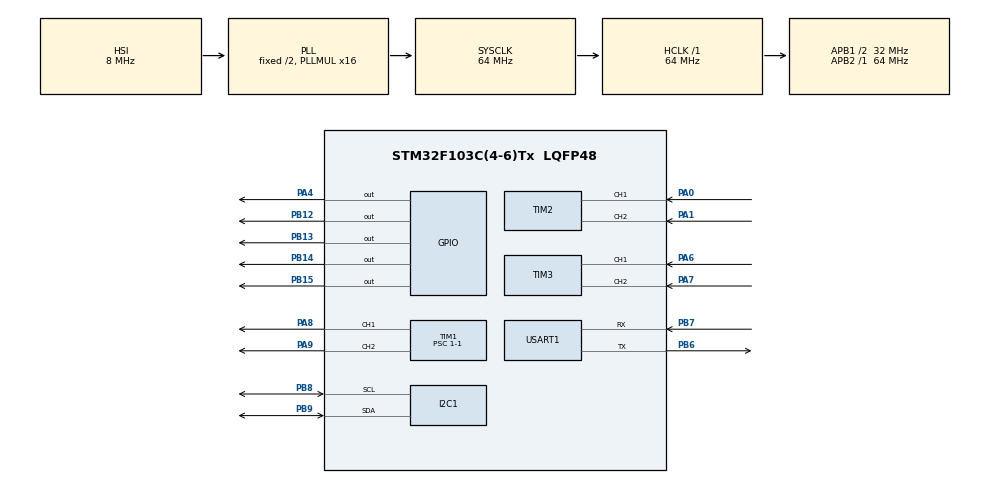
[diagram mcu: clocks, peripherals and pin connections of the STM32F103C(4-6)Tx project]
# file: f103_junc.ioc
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FREERTOS.Tasks01=defaultTask,24,128,StartDefaultTask,Default,NULL,Dynamic,NULL,NULL;updIncl,48,128,updateIncl,Default,NULL,Dynamic,NULL,NULL;motorCtrl,48,128,motorControl,Default,NULL,Dynamic,NULL,NULL
Mcu.Family=STM32F1
Mcu.Name=STM32F103C(4-6)Tx
Mcu.Package=LQFP48
NVIC.PriorityGroup=NVIC_PRIORITYGROUP_4
PA0-WKUP.Signal=S_TIM2_CH1_ETR
PA1.Signal=S_TIM2_CH2
PA13.Mode=Serial_Wire
PA13.Signal=SYS_JTMS-SWDIO
PA14.Mode=Serial_Wire
PA14.Signal=SYS_JTCK-SWCLK
PA4.Signal=GPIO_Output
PA6.Signal=S_TIM3_CH1
PA7.Signal=S_TIM3_CH2
PA8.Signal=S_TIM1_CH1
PA9.Signal=S_TIM1_CH2
PB12.Signal=GPIO_Output
PB13.Signal=GPIO_Output
PB14.Signal=GPIO_Output
PB15.Signal=GPIO_Output
PB6.Mode=Asynchronous
PB6.Signal=USART1_TX
PB7.Mode=Asynchronous
PB7.Signal=USART1_RX
PB8.Mode=I2C
PB8.Signal=I2C1_SCL
PB9.Mode=I2C
PB9.Signal=I2C1_SDA
ProjectManager.HeapSize=0x200
ProjectManager.StackSize=0x400
ProjectManager.TargetToolchain=CMake
RCC.AHBFreq_Value=64000000
RCC.APB1CLKDivider=RCC_HCLK_DIV2
RCC.APB1Freq_Value=32000000
RCC.APB1TimFreq_Value=64000000
RCC.APB2Freq_Value=64000000
RCC.APB2TimFreq_Value=64000000
RCC.HCLKFreq_Value=64000000
RCC.PLLMUL=RCC_PLL_MUL16
RCC.SYSCLKFreq_VALUE=64000000
RCC.SYSCLKSource=RCC_SYSCLKSOURCE_PLLCLK
RCC.USBFreq_Value=64000000
SH.S_TIM1_CH1.0=TIM1_CH1,PWM Generation1 CH1
SH.S_TIM1_CH2.0=TIM1_CH2,PWM Generation2 CH2
SH.S_TIM2_CH1_ETR.0=TIM2_CH1,Encoder_Interface
SH.S_TIM2_CH2.0=TIM2_CH2,Encoder_Interface
SH.S_TIM3_CH1.0=TIM3_CH1,Encoder_Interface
SH.S_TIM3_CH2.0=TIM3_CH2,Encoder_Interface
TIM1.Channel-PWM\ Generation1\ CH1=TIM_CHANNEL_1
TIM1.Channel-PWM\ Generation2\ CH2=TIM_CHANNEL_2
TIM1.Period=3200-1
TIM1.Prescaler=1-1
TIM2.EncoderMode=TIM_ENCODERMODE_TI12
TIM2.IC1Filter=12
TIM3.EncoderMode=TIM_ENCODERMODE_TI12
TIM3.IC1Filter=12
USART1.VirtualMode=VM_ASYNC
VP_FREERTOS_VS_CMSIS_V2.Mode=CMSIS_V2
VP_TIM1_VS_ClockSourceINT.Mode=Internal
board=custom

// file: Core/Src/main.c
/* USER CODE BEGIN Header */
/**
  ******************************************************************************
  * @file           : main.c
  * @brief          : Main program body
  ******************************************************************************
  * @attention
  *
  * Copyright (c) 2026 STMicroelectronics.
  * All rights reserved.
  *
  * This software is licensed under terms that can be found in the LICENSE file
  * in the root directory of this software component.
  * If no LICENSE file comes with this software, it is provided AS-IS.
  *
  ******************************************************************************
  */
/* USER CODE END Header */
#include "main.h"
#include "cmsis_os.h"

/* USER CODE BEGIN Includes */
#include <stdint.h>
#include <string.h>
/* USER CODE END Includes */

I2C_HandleTypeDef hi2c1;

TIM_HandleTypeDef htim1;
TIM_HandleTypeDef htim2;
TIM_HandleTypeDef htim3;

UART_HandleTypeDef huart1;

/* Definitions for defaultTask */
osThreadId_t defaultTaskHandle;
const osThreadAttr_t defaultTask_attributes = {
  .name = "defaultTask",
  .stack_size = 128 * 4,
  .priority = (osPriority_t) osPriorityNormal,
};
/* Definitions for updIncl */
osThreadId_t updInclHandle;
const osThreadAttr_t updIncl_attributes = {
  .name = "updIncl",
  .stack_size = 128 * 4,
  .priority = (osPriority_t) osPriorityRealtime,
};
/* Definitions for motorCtrl */
osThreadId_t motorCtrlHandle;
const osThreadAttr_t motorCtrl_attributes = {
  .name = "motorCtrl",
  .stack_size = 128 * 4,
  .priority = (osPriority_t) osPriorityRealtime,
};

void SystemClock_Config(void);
static void MX_GPIO_Init(void);
static void MX_I2C1_Init(void);
static void MX_USART1_UART_Init(void);
static void MX_TIM1_Init(void);
static void MX_TIM2_Init(void);
static void MX_TIM3_Init(void);
void StartDefaultTask(void *argument);
void updateIncl(void *argument);
void motorControl(void *argument);

int main(void)
{

  /* MCU Configuration--------------------------------------------------------*/

  /* Reset of all peripherals, Initializes the Flash interface and the Systick. */
  HAL_Init();

  /* Configure the system clock */
  SystemClock_Config();

  /* Initialize all configured peripherals */
  MX_GPIO_Init();
  MX_I2C1_Init();
  MX_USART1_UART_Init();
  MX_TIM1_Init();
  MX_TIM2_Init();
  MX_TIM3_Init();

  /* Init scheduler */
  osKernelInitialize();

  /* Create the thread(s) */
  /* creation of defaultTask */
  defaultTaskHandle = osThreadNew(StartDefaultTask, NULL, &defaultTask_attributes);

  /* creation of updIncl */
  updInclHandle = osThreadNew(updateIncl, NULL, &updIncl_attributes);

  /* creation of motorCtrl */
  motorCtrlHandle = osThreadNew(motorControl, NULL, &motorCtrl_attributes);

  /* Start scheduler */
  osKernelStart();

  /* We should never get here as control is now taken by the scheduler */

  /* Infinite loop */
  while (1)
  {

  }
}

void SystemClock_Config(void)
{
  RCC_OscInitTypeDef RCC_OscInitStruct = {0};
  RCC_ClkInitTypeDef RCC_ClkInitStruct = {0};

  /** Initializes the RCC Oscillators according to the specified parameters
  * in the RCC_OscInitTypeDef structure.
  */
  RCC_OscInitStruct.OscillatorType = RCC_OSCILLATORTYPE_HSI;
  RCC_OscInitStruct.HSIState = RCC_HSI_ON;
  RCC_OscInitStruct.HSICalibrationValue = RCC_HSICALIBRATION_DEFAULT;
  RCC_OscInitStruct.PLL.PLLState = RCC_PLL_ON;
  RCC_OscInitStruct.PLL.PLLSource = RCC_PLLSOURCE_HSI_DIV2;
  RCC_OscInitStruct.PLL.PLLMUL = RCC_PLL_MUL16;
  if (HAL_RCC_OscConfig(&RCC_OscInitStruct) != HAL_OK)
  {
    Error_Handler();
  }

  /** Initializes the CPU, AHB and APB buses clocks
  */
  RCC_ClkInitStruct.ClockType = RCC_CLOCKTYPE_HCLK|RCC_CLOCKTYPE_SYSCLK
                              |RCC_CLOCKTYPE_PCLK1|RCC_CLOCKTYPE_PCLK2;
  RCC_ClkInitStruct.SYSCLKSource = RCC_SYSCLKSOURCE_PLLCLK;
  RCC_ClkInitStruct.AHBCLKDivider = RCC_SYSCLK_DIV1;
  RCC_ClkInitStruct.APB1CLKDivider = RCC_HCLK_DIV2;
  RCC_ClkInitStruct.APB2CLKDivider = RCC_HCLK_DIV1;

  if (HAL_RCC_ClockConfig(&RCC_ClkInitStruct, FLASH_LATENCY_2) != HAL_OK)
  {
    Error_Handler();
  }
}

static void MX_I2C1_Init(void)
{

  hi2c1.Instance = I2C1;
  hi2c1.Init.ClockSpeed = 100000;
  hi2c1.Init.DutyCycle = I2C_DUTYCYCLE_2;
  hi2c1.Init.OwnAddress1 = 0;
  hi2c1.Init.AddressingMode = I2C_ADDRESSINGMODE_7BIT;
  hi2c1.Init.DualAddressMode = I2C_DUALADDRESS_DISABLE;
  hi2c1.Init.OwnAddress2 = 0;
  hi2c1.Init.GeneralCallMode = I2C_GENERALCALL_DISABLE;
  hi2c1.Init.NoStretchMode = I2C_NOSTRETCH_DISABLE;
  if (HAL_I2C_Init(&hi2c1) != HAL_OK)
  {
    Error_Handler();
  }

}

static void MX_TIM1_Init(void)
{

  TIM_ClockConfigTypeDef sClockSourceConfig = {0};
  TIM_MasterConfigTypeDef sMasterConfig = {0};
  TIM_OC_InitTypeDef sConfigOC = {0};
  TIM_BreakDeadTimeConfigTypeDef sBreakDeadTimeConfig = {0};

  htim1.Instance = TIM1;
  htim1.Init.Prescaler = 1-1;
  htim1.Init.CounterMode = TIM_COUNTERMODE_UP;
  htim1.Init.Period = 3200-1;
  htim1.Init.ClockDivision = TIM_CLOCKDIVISION_DIV1;
  htim1.Init.RepetitionCounter = 0;
  htim1.Init.AutoReloadPreload = TIM_AUTORELOAD_PRELOAD_DISABLE;
  if (HAL_TIM_Base_Init(&htim1) != HAL_OK)
  {
    Error_Handler();
  }
  sClockSourceConfig.ClockSource = TIM_CLOCKSOURCE_INTERNAL;
  if (HAL_TIM_ConfigClockSource(&htim1, &sClockSourceConfig) != HAL_OK)
  {
    Error_Handler();
  }
  if (HAL_TIM_PWM_Init(&htim1) != HAL_OK)
  {
    Error_Handler();
  }
  sMasterConfig.MasterOutputTrigger = TIM_TRGO_RESET;
  sMasterConfig.MasterSlaveMode = TIM_MASTERSLAVEMODE_DISABLE;
  if (HAL_TIMEx_MasterConfigSynchronization(&htim1, &sMasterConfig) != HAL_OK)
  {
    Error_Handler();
  }
  sConfigOC.OCMode = TIM_OCMODE_PWM1;
  sConfigOC.Pulse = 0;
  sConfigOC.OCPolarity = TIM_OCPOLARITY_HIGH;
  sConfigOC.OCNPolarity = TIM_OCNPOLARITY_HIGH;
  sConfigOC.OCFastMode = TIM_OCFAST_DISABLE;
  sConfigOC.OCIdleState = TIM_OCIDLESTATE_RESET;
  sConfigOC.OCNIdleState = TIM_OCNIDLESTATE_RESET;
  if (HAL_TIM_PWM_ConfigChannel(&htim1, &sConfigOC, TIM_CHANNEL_1) != HAL_OK)
  {
    Error_Handler();
  }
  if (HAL_TIM_PWM_ConfigChannel(&htim1, &sConfigOC, TIM_CHANNEL_2) != HAL_OK)
  {
    Error_Handler();
  }
  sBreakDeadTimeConfig.OffStateRunMode = TIM_OSSR_DISABLE;
  sBreakDeadTimeConfig.OffStateIDLEMode = TIM_OSSI_DISABLE;
  sBreakDeadTimeConfig.LockLevel = TIM_LOCKLEVEL_OFF;
  sBreakDeadTimeConfig.DeadTime = 0;
  sBreakDeadTimeConfig.BreakState = TIM_BREAK_DISABLE;
  sBreakDeadTimeConfig.BreakPolarity = TIM_BREAKPOLARITY_HIGH;
  sBreakDeadTimeConfig.AutomaticOutput = TIM_AUTOMATICOUTPUT_DISABLE;
  if (HAL_TIMEx_ConfigBreakDeadTime(&htim1, &sBreakDeadTimeConfig) != HAL_OK)
  {
    Error_Handler();
  }
  HAL_TIM_MspPostInit(&htim1);

}

static void MX_TIM2_Init(void)
{

  TIM_Encoder_InitTypeDef sConfig = {0};
  TIM_MasterConfigTypeDef sMasterConfig = {0};

  htim2.Instance = TIM2;
  htim2.Init.Prescaler = 0;
  htim2.Init.CounterMode = TIM_COUNTERMODE_UP;
  htim2.Init.Period = 65535;
  htim2.Init.ClockDivision = TIM_CLOCKDIVISION_DIV1;
  htim2.Init.AutoReloadPreload = TIM_AUTORELOAD_PRELOAD_DISABLE;
  sConfig.EncoderMode = TIM_ENCODERMODE_TI12;
  sConfig.IC1Polarity = TIM_ICPOLARITY_RISING;
  sConfig.IC1Selection = TIM_ICSELECTION_DIRECTTI;
  sConfig.IC1Prescaler = TIM_ICPSC_DIV1;
  sConfig.IC1Filter = 12;
  sConfig.IC2Polarity = TIM_ICPOLARITY_RISING;
  sConfig.IC2Selection = TIM_ICSELECTION_DIRECTTI;
  sConfig.IC2Prescaler = TIM_ICPSC_DIV1;
  sConfig.IC2Filter = 0;
  if (HAL_TIM_Encoder_Init(&htim2, &sConfig) != HAL_OK)
  {
    Error_Handler();
  }
  sMasterConfig.MasterOutputTrigger = TIM_TRGO_RESET;
  sMasterConfig.MasterSlaveMode = TIM_MASTERSLAVEMODE_DISABLE;
  if (HAL_TIMEx_MasterConfigSynchronization(&htim2, &sMasterConfig) != HAL_OK)
  {
    Error_Handler();
  }

}

static void MX_TIM3_Init(void)
{

  TIM_Encoder_InitTypeDef sConfig = {0};
  TIM_MasterConfigTypeDef sMasterConfig = {0};

  htim3.Instance = TIM3;
  htim3.Init.Prescaler = 0;
  htim3.Init.CounterMode = TIM_COUNTERMODE_UP;
  htim3.Init.Period = 65535;
  htim3.Init.ClockDivision = TIM_CLOCKDIVISION_DIV1;
  htim3.Init.AutoReloadPreload = TIM_AUTORELOAD_PRELOAD_DISABLE;
  sConfig.EncoderMode = TIM_ENCODERMODE_TI12;
  sConfig.IC1Polarity = TIM_ICPOLARITY_RISING;
  sConfig.IC1Selection = TIM_ICSELECTION_DIRECTTI;
  sConfig.IC1Prescaler = TIM_ICPSC_DIV1;
  sConfig.IC1Filter = 12;
  sConfig.IC2Polarity = TIM_ICPOLARITY_RISING;
  sConfig.IC2Selection = TIM_ICSELECTION_DIRECTTI;
  sConfig.IC2Prescaler = TIM_ICPSC_DIV1;
  sConfig.IC2Filter = 0;
  if (HAL_TIM_Encoder_Init(&htim3, &sConfig) != HAL_OK)
  {
    Error_Handler();
  }
  sMasterConfig.MasterOutputTrigger = TIM_TRGO_RESET;
  sMasterConfig.MasterSlaveMode = TIM_MASTERSLAVEMODE_DISABLE;
  if (HAL_TIMEx_MasterConfigSynchronization(&htim3, &sMasterConfig) != HAL_OK)
  {
    Error_Handler();
  }

}

static void MX_USART1_UART_Init(void)
{

  huart1.Instance = USART1;
  huart1.Init.BaudRate = 115200;
  huart1.Init.WordLength = UART_WORDLENGTH_8B;
  huart1.Init.StopBits = UART_STOPBITS_1;
  huart1.Init.Parity = UART_PARITY_NONE;
  huart1.Init.Mode = UART_MODE_TX_RX;
  huart1.Init.HwFlowCtl = UART_HWCONTROL_NONE;
  huart1.Init.OverSampling = UART_OVERSAMPLING_16;
  if (HAL_UART_Init(&huart1) != HAL_OK)
  {
    Error_Handler();
  }

}

static void MX_GPIO_Init(void)
{
  GPIO_InitTypeDef GPIO_InitStruct = {0};

  /* GPIO Ports Clock Enable */
  __HAL_RCC_GPIOA_CLK_ENABLE();
  __HAL_RCC_GPIOB_CLK_ENABLE();

  /*Configure GPIO pin Output Level */
  HAL_GPIO_WritePin(GPIOA, GPIO_PIN_4, GPIO_PIN_RESET);

  /*Configure GPIO pin Output Level */
  HAL_GPIO_WritePin(GPIOB, GPIO_PIN_12|GPIO_PIN_13|GPIO_PIN_14|GPIO_PIN_15, GPIO_PIN_RESET);

  /*Configure GPIO pin : PA4 */
  GPIO_InitStruct.Pin = GPIO_PIN_4;
  GPIO_InitStruct.Mode = GPIO_MODE_OUTPUT_PP;
  GPIO_InitStruct.Pull = GPIO_NOPULL;
  GPIO_InitStruct.Speed = GPIO_SPEED_FREQ_LOW;
  HAL_GPIO_Init(GPIOA, &GPIO_InitStruct);

  /*Configure GPIO pins : PB12 PB13 PB14 PB15 */
  GPIO_InitStruct.Pin = GPIO_PIN_12|GPIO_PIN_13|GPIO_PIN_14|GPIO_PIN_15;
  GPIO_InitStruct.Mode = GPIO_MODE_OUTPUT_PP;
  GPIO_InitStruct.Pull = GPIO_NOPULL;
  GPIO_InitStruct.Speed = GPIO_SPEED_FREQ_LOW;
  HAL_GPIO_Init(GPIOB, &GPIO_InitStruct);

}

void StartDefaultTask(void *argument)
{
  /* USER CODE BEGIN 5 */
  mainTask();
  /* USER CODE END 5 */
}

void updateIncl(void *argument)
{
  /* USER CODE BEGIN updateIncl */
  updateInclTask();
  /* USER CODE END updateIncl */
}

void motorControl(void *argument)
{
  /* USER CODE BEGIN motorControl */
  motorControlTask();
  /* USER CODE END motorControl */
}

void Error_Handler(void)
{
  __disable_irq();
  while (1)
  {
  }
}

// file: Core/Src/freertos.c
/* USER CODE BEGIN Header */
/**
 ******************************************************************************
 * File Name          : freertos.c
 * Description        : Code for freertos applications
 ******************************************************************************
 * @attention
 *
 * Copyright (c) 2026 STMicroelectronics.
 * All rights reserved.
 *
 * This software is licensed under terms that can be found in the LICENSE file
 * in the root directory of this software component.
 * If no LICENSE file comes with this software, it is provided AS-IS.
 *
 ******************************************************************************
 */

/**
 *
 * ฅ^._.^ฅ
 *
 * ᓚ₍⑅^..^₎♡₍^. .^₎⟆
 *
 */
/* USER CODE END Header */

#include "FreeRTOS.h"
#include "main.h"
#include "stm32f1xx_hal_gpio.h"
#include "stm32f1xx_hal_tim.h"
#include "task.h"

/* USER CODE BEGIN Includes */
#include "cmsis_os.h"
#include <math.h>
#include <stddef.h>
#include <stdint.h>
#include <stdio.h>
#include <stdlib.h>
#include <string.h>
#include <sys/_intsup.h>

/* USER CODE END Includes */

/* USER CODE BEGIN PTD */
typedef struct {
  int16_t ax;
  int16_t ay;
  int16_t az;
  int16_t gx;
  int16_t gy;
  int16_t gz;
} RawAccGyro;

typedef struct {
  float roll;
  float pitch;
  float yaw;
} Eula;

typedef struct {
  short l;
  short r;
} Speed;

typedef struct {
  float Kp;
  float Ki;
  float Kd;
  float SetPoint;
  float LastError;
  float SumError;
  float ILimit;
  float OutLimit;
} PID;
/* USER CODE END PTD */

/* USER CODE BEGIN PD */
// ? MPU6050 I2C address and registers START
#define MPU6050_PHY_ADDR 0x68 << 1
#define MPU6050_REG_ADDR 0x6B
#define MPU6050_DATA_ADDR 0x3B
// ? MPU6050 I2C address and registers END

// ? Control loop timing
#define CTRL_PERIOD_MS 5U
#define ANGLE_PERIOD_MS 5U
#define SPEED_PERIOD_MS 10U

#define CTRL_DT_S ((float)CTRL_PERIOD_MS / 1000.0f)   // Control loop period in seconds
#define ANGLE_DT_S ((float)ANGLE_PERIOD_MS / 1000.0f) // Angle update period in seconds
#define SPEED_DT_S ((float)SPEED_PERIOD_MS / 1000.0f) // Speed update period in seconds
#define SAMPLE_ALPHA 0.98
#define MPU6050_GYRO_LSB_PER_DPS                                               \
  131.0f // MPU6050 sensitivity for gyroscope in LSB per degree per second
#define DEG2RAD 0.01745329251f // Conversion factor from degrees to radians
#define RAD2DEG 57.2957795f    // Conversion factor from radians to degrees
#define QUAT_CORR_KP                                                           \
  0.8f // Proportional gain for quaternion correction in sensor fusion

// ? PID constants START
// * ANGALE PID
#define APID_KP 285.0f
#define APID_KI 0.0f
#define APID_KD 1.74f
// * ANGULAR VELOCITY PID
#define WPID_KP 1.4f
#define WPID_KI (WPID_KP / 200.0f)
#define WPID_KD 0.0f
// * VELOCITY PID
#define VPID_KP 0.15f
#define VPID_KI (VPID_KP / 200.0f)
#define VPID_KD 0.0f

// * Limitations and targets, refers to GitHub proj..
#define MECHANICAL_MEDIAN 0.0f // Mechanical median point for angle PID setpoint
#define VELO_TARGET 0.0f       // Target velocity for velocity PID
#define APID_I_LIMIT 3000.0f   // Integral limit for angle PID
#define WPID_I_LIMIT 3000.0f   // Integral limit for angular velocity PID
#define VPID_I_LIMIT 3000.0f   // Integral limit for velocity PID
#define APID_OUT_LIMIT 2000.0f // Output limit for angle PID
#define WPID_OUT_LIMIT 2000.0f // Output limit for angular velocity PID
#define VPID_OUT_LIMIT 100.0f  // Output limit for velocity PID
#define MOTOR_MIN_EFFECTIVE_PWM                                                \
  20U // Minimum effective PWM value for the motors
#define PWM_OUTPUT_SCALE                                                       \
  1.0f // Scale factor for converting PID output to PWM value
// ? PID constants END
/* USER CODE END PD */

/* USER CODE BEGIN Variables */
RawAccGyro raw;
volatile Eula eula_incl;
Speed speed;
int16_t temp;
volatile float gyro_pitch_dps = 0.0f;
float encoder_lpf = 0.0f;
float aPIDOutput = 0.0f;
float wPIDOutput = 0.0f;
float vPIDOutput = 0.0f;
PID aPID;
PID wPID;
PID vPID;
float q0 = 1.0f;
float q1 = 0.0f;
float q2 = 0.0f;
float q3 = 0.0f;
/* USER CODE END Variables */

/* USER CODE BEGIN FunctionPrototypes */
// ! Redirect printf to UART
int fputc(int ch, FILE *f) {
  uint8_t temp[1] = {(uint8_t)ch};
  HAL_UART_Transmit(&huart1, temp, 1, 2);
  return ch;
}

// ! Check and clamp a float value between a lower and upper bound (U)
static float clampf(float v, float lo, float hi) {
  if (v < lo) {
    return lo;
  }
  if (v > hi) {
    return hi;
  }
  return v;
}

// ! Initialize PID (impl for PID)
static void PIDInit(PID *pp, float kp, float ki, float kd, float setpoint,
                    float ilimit, float outlimit) {
  pp->Kp = kp;
  pp->Ki = ki;
  pp->Kd = kd;
  pp->SetPoint = setpoint;
  pp->LastError = 0.0f;
  pp->SumError = 0.0f;
  pp->ILimit = ilimit;
  pp->OutLimit = outlimit;
}

// ! PID step calculation
static float pid_step(PID *pp, float measured, float dt) {
  float err = pp->SetPoint - measured;
  pp->SumError += err * dt;
  pp->SumError = clampf(pp->SumError, -pp->ILimit, pp->ILimit);

  float d = (err - pp->LastError) / dt;
  pp->LastError = err;

  float out = pp->Kp * err + pp->Ki * pp->SumError + pp->Kd * d;
  return clampf(out, -pp->OutLimit, pp->OutLimit);
}

// ! PID calculation for angle control
static float PID_A(PID *pp, float pitch_deg) {
  return pid_step(pp, pitch_deg, ANGLE_DT_S);
}

// ! PID calculation for angular velocity control
static float PID_W(PID *pp, float gyro_dps) {
  return pid_step(pp, gyro_dps, CTRL_DT_S);
}

// ! PID calculation for velocity control
static float PID_V(PID *pp, float filtered_speed_sum) {
  return pid_step(pp, filtered_speed_sum, SPEED_DT_S);
}

// ! MPU6050 Init.
static void mpu6050_init(void) {
  uint8_t data = 0x00;
  HAL_I2C_Mem_Write(&hi2c1, MPU6050_PHY_ADDR, MPU6050_REG_ADDR, 1, &data,
                    sizeof(data), HAL_MAX_DELAY);
}

/**
 * ! MPU6050 Read All Data
 *
 * @param accel_x Pointer to store accelerometer X-axis data
 * @param accel_y Pointer to store accelerometer Y-axis data
 * @param accel_z Pointer to store accelerometer Z-axis data
 * @param temp Pointer to store temperature data
 * @param gyro_x Pointer to store gyroscope X-axis data
 * @param gyro_y Pointer to store gyroscope Y-axis data
 * @param gyro_z Pointer to store gyroscope Z-axis data
 *
 */
static void mpu6050_read_all(RawAccGyro *raw, int16_t *temp) {
  uint8_t buf[14];
  HAL_I2C_Mem_Read(&hi2c1, MPU6050_PHY_ADDR, MPU6050_DATA_ADDR, 1, buf,
                   sizeof(buf), HAL_MAX_DELAY);

  raw->ax = (buf[0] << 8) | buf[1];
  raw->ay = (buf[2] << 8) | buf[3];
  raw->az = (buf[4] << 8) | buf[5];
  *temp = (buf[6] << 8) | buf[7];
  raw->gx = (buf[8] << 8) | buf[9];
  raw->gy = (buf[10] << 8) | buf[11];
  raw->gz = (buf[12] << 8) | buf[13];
}

// ! MPU6050 Quaternion Update using a simple sensor fusion algorithm
static void mpu6050_quat_update(const RawAccGyro *raw_sample, float dt) {
  float ax = (float)raw_sample->ax;
  float ay = (float)raw_sample->ay;
  float az = (float)raw_sample->az;

  float norm = sqrtf(ax * ax + ay * ay + az * az);
  if (norm > 1e-6f) {
    ax /= norm;
    ay /= norm;
    az /= norm;
  }

  float gx = ((float)raw_sample->gx / MPU6050_GYRO_LSB_PER_DPS) * DEG2RAD;
  float gy = ((float)raw_sample->gy / MPU6050_GYRO_LSB_PER_DPS) * DEG2RAD;
  float gz = ((float)raw_sample->gz / MPU6050_GYRO_LSB_PER_DPS) * DEG2RAD;

  float vx = 2.0f * (q1 * q3 - q0 * q2);
  float vy = 2.0f * (q0 * q1 + q2 * q3);
  float vz = q0 * q0 - q1 * q1 - q2 * q2 + q3 * q3;

  float ex = ay * vz - az * vy;
  float ey = az * vx - ax * vz;
  float ez = ax * vy - ay * vx;

  gx += QUAT_CORR_KP * ex;
  gy += QUAT_CORR_KP * ey;
  gz += QUAT_CORR_KP * ez;

  float half_dt = 0.5f * dt;
  float nq0 = q0 + (-q1 * gx - q2 * gy - q3 * gz) * half_dt;
  float nq1 = q1 + (q0 * gx + q2 * gz - q3 * gy) * half_dt;
  float nq2 = q2 + (q0 * gy - q1 * gz + q3 * gx) * half_dt;
  float nq3 = q3 + (q0 * gz + q1 * gy - q2 * gx) * half_dt;

  float qnorm = sqrtf(nq0 * nq0 + nq1 * nq1 + nq2 * nq2 + nq3 * nq3);
  if (qnorm > 1e-6f) {
    q0 = nq0 / qnorm;
    q1 = nq1 / qnorm;
    q2 = nq2 / qnorm;
    q3 = nq3 / qnorm;
  }
}

// ! Convert quaternion to Euler angles (roll, pitch, yaw)
static void mpu6050_quat_to_euler(volatile Eula *eula) {
  float sinr_cosp = 2.0f * (q0 * q1 + q2 * q3);
  float cosr_cosp = 1.0f - 2.0f * (q1 * q1 + q2 * q2);
  eula->roll = atan2f(sinr_cosp, cosr_cosp) * RAD2DEG;

  float sinp = 2.0f * (q0 * q2 - q3 * q1);
  sinp = clampf(sinp, -1.0f, 1.0f);
  eula->pitch = asinf(sinp) * RAD2DEG;

  float siny_cosp = 2.0f * (q0 * q3 + q1 * q2);
  float cosy_cosp = 1.0f - 2.0f * (q2 * q2 + q3 * q3);
  eula->yaw = atan2f(siny_cosp, cosy_cosp) * RAD2DEG;
}

// ! Clamp PWM magnitude to be within effective range and hardware limits
static uint16_t clamp_pwm_mag(int pwm) {
  uint16_t max_pwm = (uint16_t)__HAL_TIM_GET_AUTORELOAD(&htim1);
  int mag = (pwm >= 0) ? pwm : -pwm;
  if (mag < 0) {
    mag = 0;
  } else if (mag > 0 && mag < (int)MOTOR_MIN_EFFECTIVE_PWM) {
    mag = (int)MOTOR_MIN_EFFECTIVE_PWM;
  } else if (mag > (int)max_pwm) {
    mag = (int)max_pwm;
  }
  return (uint16_t)mag;
}

/* USER CODE END FunctionPrototypes */

/* USER CODE BEGIN Application */
void updateInclTask() {
  // ! Once...
  uint32_t next_tick = osKernelGetTickCount();
  for (;;) {
    // ! Loop...
    mpu6050_read_all(&raw, &temp);
    /* printf("RAW: AX: %d, AY: %d, AZ: %d, GX: %d, GY: %d, GZ: %d, TEMP:
       %d\r\n", raw.ax, raw.ay, raw.az, raw.gx, raw.gy, raw.gz, temp); */
    mpu6050_quat_update(&raw, ANGLE_DT_S);
    mpu6050_quat_to_euler(&eula_incl);
    gyro_pitch_dps = (float)raw.gx / MPU6050_GYRO_LSB_PER_DPS;
    next_tick += ANGLE_PERIOD_MS;
    osDelayUntil(next_tick);
  }
}

void motorControlTask() {
  // ! Once...
  uint32_t next_tick = osKernelGetTickCount();
  uint32_t angle_tick_acc = 0U;
  uint32_t speed_tick_acc = 0U;
  for (;;) {
    // ! Loop...
    angle_tick_acc += CTRL_PERIOD_MS;
    speed_tick_acc += CTRL_PERIOD_MS;

    if (angle_tick_acc >= ANGLE_PERIOD_MS) {
      angle_tick_acc = 0U;
      aPIDOutput = PID_A(&aPID, eula_incl.pitch);
      wPID.SetPoint = aPIDOutput;
    }

    if (speed_tick_acc >= SPEED_PERIOD_MS) {
      speed_tick_acc = 0U;
      speed.l = (short)__HAL_TIM_GET_COUNTER(&htim2);
      __HAL_TIM_SET_COUNTER(&htim2, 0);
      speed.r = (short)__HAL_TIM_GET_COUNTER(&htim3);
      __HAL_TIM_SET_COUNTER(&htim3, 0);

      float speed_sum = (float)(speed.l + speed.r);
      encoder_lpf = encoder_lpf * 0.8f + speed_sum * 0.2f;
      vPIDOutput = PID_V(&vPID, encoder_lpf);
      aPID.SetPoint = MECHANICAL_MEDIAN + vPIDOutput;
    }

    wPIDOutput = PID_W(&wPID, gyro_pitch_dps);
    int pwm_val = (int)(wPIDOutput * PWM_OUTPUT_SCALE);

    uint16_t pwm_mag = clamp_pwm_mag(pwm_val);

    // Set same spd for 2 channels
    if (pwm_val >= 0) {
      // ! Forward
      HAL_GPIO_WritePin(MOTOR_L_INPUT_1_GPIO_Port, MOTOR_L_INPUT_1_PIN,
                        GPIO_PIN_SET);
      HAL_GPIO_WritePin(MOTOR_L_INPUT_2_GPIO_Port, MOTOR_L_INPUT_2_PIN,
                        GPIO_PIN_RESET);
      HAL_GPIO_WritePin(MOTOR_R_INPUT_1_GPIO_Port, MOTOR_R_INPUT_1_PIN,
                        GPIO_PIN_SET);
      HAL_GPIO_WritePin(MOTOR_R_INPUT_2_GPIO_Port, MOTOR_R_INPUT_2_PIN,
                        GPIO_PIN_RESET);
    } else {
      // ! Backward
      HAL_GPIO_WritePin(MOTOR_L_INPUT_1_GPIO_Port, MOTOR_L_INPUT_1_PIN,
                        GPIO_PIN_RESET);
      HAL_GPIO_WritePin(MOTOR_L_INPUT_2_GPIO_Port, MOTOR_L_INPUT_2_PIN,
                        GPIO_PIN_SET);
      HAL_GPIO_WritePin(MOTOR_R_INPUT_1_GPIO_Port, MOTOR_R_INPUT_1_PIN,
                        GPIO_PIN_RESET);
      HAL_GPIO_WritePin(MOTOR_R_INPUT_2_GPIO_Port, MOTOR_R_INPUT_2_PIN,
                        GPIO_PIN_SET);
    }
    __HAL_TIM_SET_COMPARE(&htim1, TIM_CHANNEL_1, pwm_mag);
    __HAL_TIM_SET_COMPARE(&htim1, TIM_CHANNEL_2, pwm_mag);

    next_tick += CTRL_PERIOD_MS;
    osDelayUntil(next_tick);
  }
}

void mainTask(void) {
  // ! Once...
  // ? Start Encoders...
  HAL_TIM_Encoder_Start(&htim2, TIM_CHANNEL_ALL);
  HAL_TIM_Encoder_Start(&htim3, TIM_CHANNEL_ALL);
  // ? Start PWM...
  // * L
  HAL_TIM_PWM_Start(&htim1, TIM_CHANNEL_1);
  // * R
  HAL_TIM_PWM_Start(&htim1, TIM_CHANNEL_2);
  // ? Init MPU6050...
  mpu6050_init();
  PIDInit(&aPID, APID_KP, APID_KI, APID_KD, MECHANICAL_MEDIAN, APID_I_LIMIT,
          APID_OUT_LIMIT);
  PIDInit(&wPID, WPID_KP, WPID_KI, WPID_KD, 0.0f, WPID_I_LIMIT, WPID_OUT_LIMIT);
  PIDInit(&vPID, VPID_KP, VPID_KI, VPID_KD, VELO_TARGET, VPID_I_LIMIT,
          VPID_OUT_LIMIT);
  // ? PWRUP STDBY...
  HAL_GPIO_WritePin(TB6612_STDBY_GPIO_Port, TB6612_STDBY_PIN, GPIO_PIN_SET);
  for (;;) {
    // ! Loop...
    // * Heartbeat...
    osDelay(1000);
  }
}
/* USER CODE END Application */
